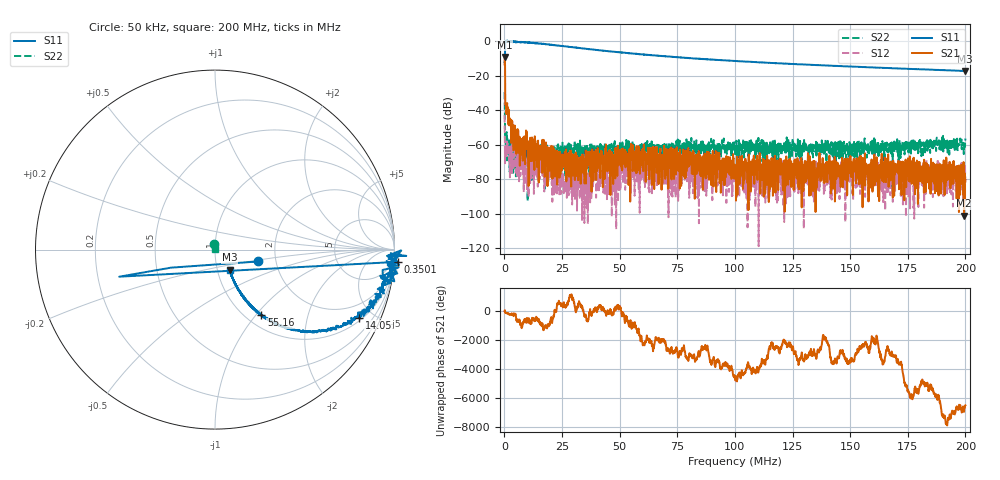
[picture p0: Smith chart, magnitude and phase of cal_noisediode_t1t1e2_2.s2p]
! 26-Feb-26 1:48:53 PM
! E:\VNA_MEASUREMENTS\CAL_S11\CAL_NOISEDIODE_T1T1E2_2.S2P
! CHANNEL.1
! TR.MEASUREMENT
! CORRECTED.DATA
# GHZ S RI R 50.0
! FREQ.GHZ  S11RE  S11IM  S21RE  S21IM  S12RE  S12IM  S22RE  S22IM
!; PortSelection: Port_12
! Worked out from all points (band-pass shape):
!   2000 points, 50 kHz to 200 MHz, reference 50 ohm
!   highest |S21| = -8.97 dB at 150 kHz (marker M1); lowest = -101.2 dB at 199.4 MHz (marker M2)
!   |S21| within 3 dB of the highest: 81.98 kHz to 208.8 kHz (126.9 kHz wide, 87.2 % of centre)
!   lowest |S11| = -17.2 dB at 199.9 MHz (marker M3), VSWR 1.32, Z = 57.2 - j13.1 ohm
!   |S11| at or under -10 dB: 83.49 MHz to 84 MHz (508.1 kHz wide, 0.607 % of centre); 84.13783 MHz to 84.46833 MHz (330.5 kHz wide, 0.392 % of centre); 84.48 MHz to end of sweep (the widest 3 of 4)
!   |S22| runs from -92.7 to -29.4 dB; largest |S21 - S12| = 0.36
!   S11 on the Smith chart (normalised r, x): 50 kHz: 1.62, -0.23; 350.1 kHz: -9, -27; 14.05 MHz: 1.14, -4.15; 55.16 MHz: 1.17, -1.07; 200 MHz: 1.14, -0.26
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5e-05  0.2411 -0.066  0.2121 -0.0309  0.00695 0.00198  -0.00679 0.0332
0.000150025  -0.2456 -0.1007  0.1812 0.3066  -0.00103 -0.000628  0.00041 -0.0071
0.000350075  1.021 -0.0681  0.00558 -0.0136  0.000363 -0.000772  -0.00072 -0.00115
0.0012503  0.9616 -0.0342  -0.00768 -0.00199  0.000762 -0.000838  0.00122 0.000589
0.004451101  0.9946 -0.159  -0.00134 0.00247  0.000184 0.000606  0.000608 -0.000536
0.007051751  0.9378 -0.2262  -0.000543 -0.000267  7.36e-05 0.000165  0.000401 0.0001
0.0140535  0.8039 -0.3806  -0.000329 0.000674  -0.000151 0.000193  7.12e-05 -0.000122
0.0228557  0.6147 -0.4484  -6.48e-05 2.68e-05  -7.24e-05 0.000195  0.000312 0.0003
0.03345835  0.4459 -0.4486  -0.000107 -0.000259  -0.000108 2.68e-05  0.000783 0.000354
0.05516378  0.2585 -0.3648  -0.000293 -0.000232  0.000198 -0.000196  0.000318 0.000216
0.06676668  0.2094 -0.3248  -6.04e-05 0.000107  0.000296 5.3e-05  0.000756 0.00041
0.07756939  0.1774 -0.2889  -0.000551 -0.000489  -0.000111 -4.14e-05  0.000546 0.000459
0.08007001  0.1711 -0.2798  0.000176 0.000237  -8.56e-05 7.5e-05  0.000708 0.000441
0.08317078  0.1653 -0.2741  -0.000495 -0.000154  6.64e-05 9.49e-05  0.000767 0.000623
0.100075  0.1377 -0.234  8.7e-06 0.000118  -3.91e-05 0.000115  0.000311 0.000397
0.1333833  0.1069 -0.179  9.77e-05 -0.000181  8.82e-05 7.47e-05  0.000304 0.000706
0.1351838  0.1059 -0.1763  2.07e-05 5.53e-05  6.8e-06 6.85e-05  0.000628 0.00105
0.1523881  0.097 -0.1569  0.000285 -0.000156  -5.35e-05 -1.59e-05  0.000596 0.000356
0.1666917  0.0915 -0.142  -3.73e-05 -4.68e-05  -0.000169 -0.000115  0.000606 0.000403
0.1993998  0.0807 -0.1135  -4.1e-06 -7.7e-06  8.47e-05 -3.5e-06  0.000443 0.000674
0.1999  0.0808 -0.1125  5.9e-05 -5.49e-05  9.04e-05 0.000101  0.000542 0.00107
0.2  0.0811 -0.1123  8.71e-05 -4.33e-05  0.000105 2.34e-05  0.000552 0.00141
